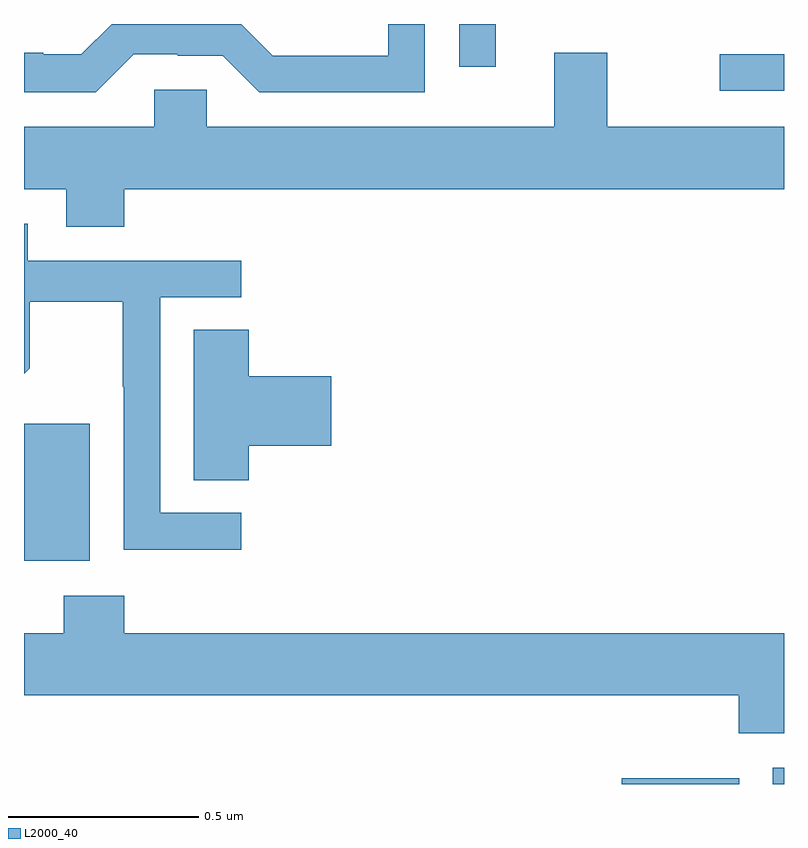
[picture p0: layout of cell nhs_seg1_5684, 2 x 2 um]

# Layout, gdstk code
import gdstk
lib = gdstk.Library(unit=1e-6, precision=1e-09)
def R(c, l, rs):  # rectangles x0, y0, x1, y1
    for r in rs: c.add(gdstk.rectangle(r[:2], r[2:], *l))
def P(c, l, *ps):  # polygons
    for p in ps: c.add(gdstk.Polygon(p, *l))
L2000_40 = (2000, 40)

nhs_seg1_5684 = lib.new_cell('nhs_seg1_5684')
R(nhs_seg1_5684, L2000_40, [(183.573,518.199,183.882,518.214), (183.971,518.199,184,518.242), (182,518.786,182.173,519.147), (183.831,520.023,184,520.119), (183.145,520.086,183.241,520.199)])
P(nhs_seg1_5684, L2000_40, [(182.289,520.119),(182.405,520.119),(182.405,520.116),(182.523,520.116),(182.619,520.02),(183.054,520.02),(183.054,520.199),(182.958,520.199),(182.958,520.116),(182.655,520.116),(182.572,520.199),(182.231,520.199),(182.151,520.119),(182.051,520.119),(182.051,520.123),(182,520.123),(182,520.019),(182.189,520.019)],
  [(183.395,520.123),(183.395,519.928),(182.481,519.928),(182.481,520.026),(182.343,520.026),(182.343,519.928),(182,519.928),(182,519.764),(182.111,519.764),(182.111,519.665),(182.264,519.665),(182.264,519.764),(184,519.764),(184,519.928),(183.535,519.928),(183.535,520.123)],
  [(182.572,518.913),(182.358,518.913),(182.358,519.48),(182.572,519.48),(182.572,519.576),(182.01,519.576),(182.01,519.673),(182,519.673),(182,519.278),(182.015,519.293),(182.015,519.468),(182.26,519.468),(182.26,519.244),(182.262,519.244),(182.262,518.815),(182.572,518.815)],
  [(182.591,519.089),(182.809,519.089),(182.809,519.272),(182.591,519.272),(182.591,519.395),(182.447,519.395),(182.447,518.998),(182.591,518.998)],
  [(184,518.596),(182.264,518.596),(182.264,518.695),(182.104,518.695),(182.104,518.596),(182,518.596),(182,518.432),(183.881,518.432),(183.881,518.333),(184,518.333)])

lib.write_gds('nhs_seg1_5684.gds')
